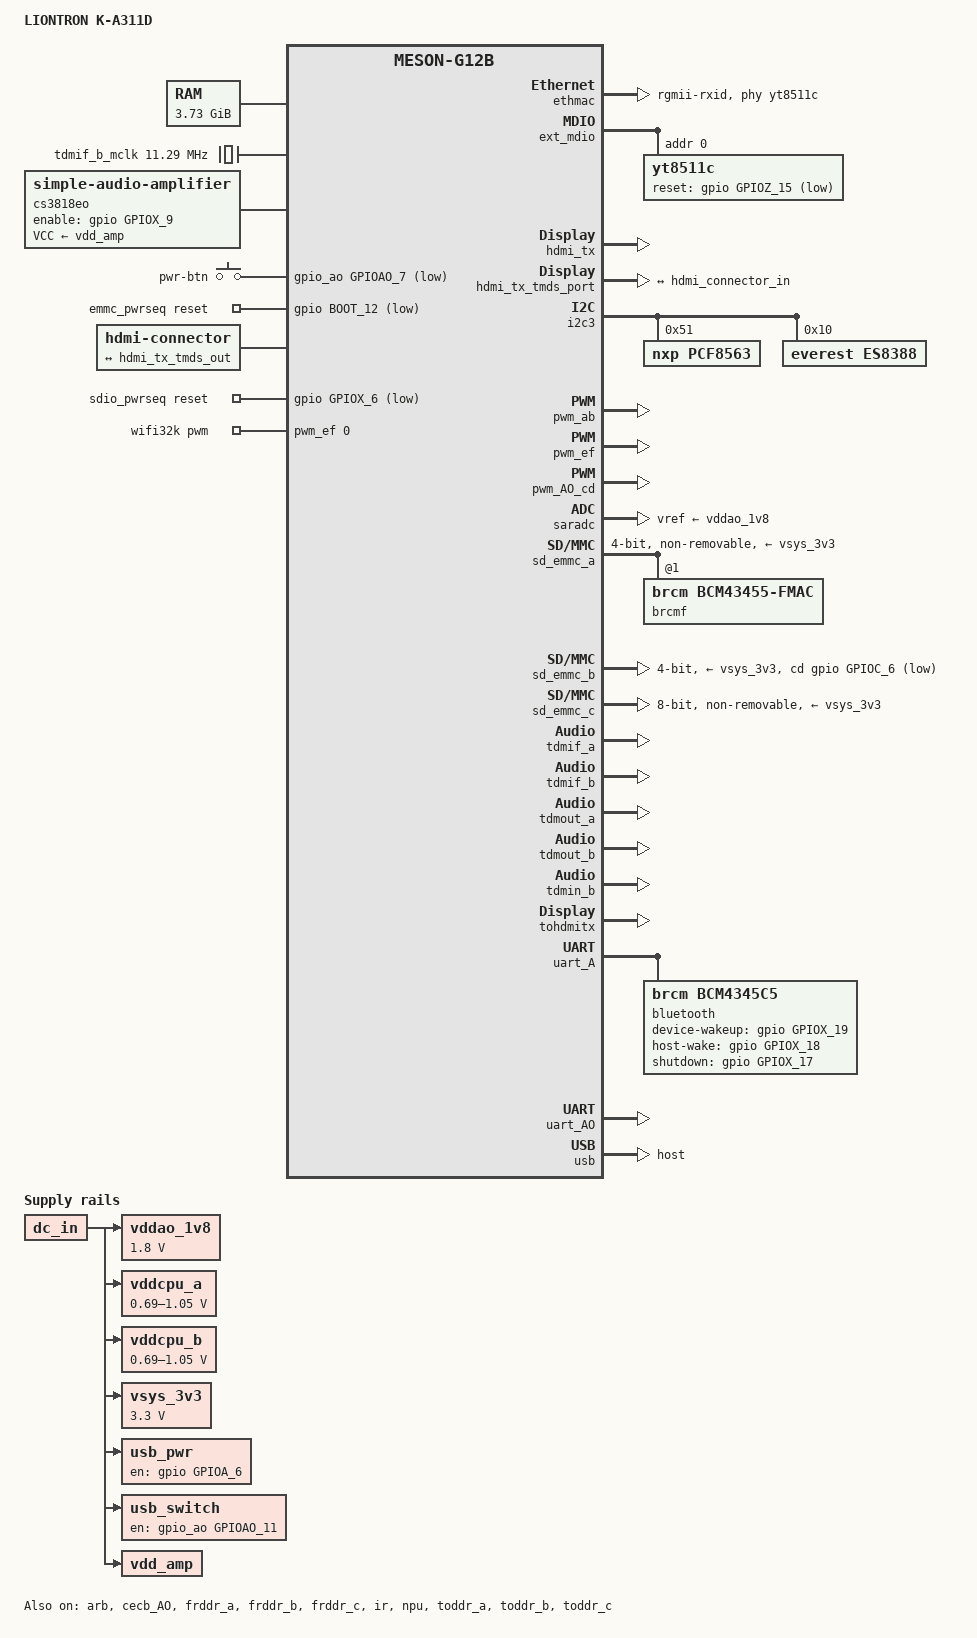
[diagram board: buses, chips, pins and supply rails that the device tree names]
// SPDX-License-Identifier: (GPL-2.0+ OR MIT)
/*
 * Copyright (c) 2019 BayLibre, SAS
 * Author: Neil Armstrong <narmstrong@baylibre.com>
 * Copyright (c) 2019 Christian Hewitt <christianshewitt@gmail.com>
 * Copyright (c) 2025 retro98boy <retro98boy@qq.com>
 */

/dts-v1/;

#include "meson-g12b-a311d.dtsi"
#include <dt-bindings/input/input.h>
#include <dt-bindings/gpio/meson-g12a-gpio.h>
#include <dt-bindings/sound/meson-g12a-tohdmitx.h>

/ {
	compatible = "liontron,k-a311d", "amlogic,a311d", "amlogic,g12b";
	model = "LIONTRON K-A311D";

	aliases {
		serial0 = &uart_AO;
		ethernet0 = &ethmac;
		rtc0 = &pcf8563;
		rtc1 = &vrtc;
	};

	chosen {
		stdout-path = "serial0:115200n8";
	};

	memory@0 {
		device_type = "memory";
		reg = <0x0 0x0 0x0 0xee6b2800>; /* 4GB */
	};

	tdmif_b_mclk: tdmif-b-mclk {
		compatible = "fixed-clock";
		#clock-cells = <0>;
		clock-frequency = <11289600>;
	};

	cs3818eo: amplifier {
		compatible = "simple-audio-amplifier";
		/* The level of the enable pin can be detected through GPIOX_8 */
		enable-gpios = <&gpio GPIOX_9 GPIO_ACTIVE_HIGH>;
		VCC-supply = <&vdd_amp>;
		sound-name-prefix = "Amplifier";
		status = "okay";
	};

	gpio-keys-polled {
		compatible = "gpio-keys-polled";
		poll-interval = <100>;

		pwr-btn {
			label = "pwr-btn";
			linux,code = <KEY_POWER>;
			gpios = <&gpio_ao GPIOAO_7 GPIO_ACTIVE_LOW>;
		};
	};

	emmc_pwrseq: emmc-pwrseq {
		compatible = "mmc-pwrseq-emmc";
		reset-gpios = <&gpio BOOT_12 GPIO_ACTIVE_LOW>;
	};

#if 0
	cvbs-connector {
		compatible = "composite-video-connector";

		port {
			cvbs_connector_in: endpoint {
				remote-endpoint = <&cvbs_vdac_out>;
			};
		};
	};
#endif

	hdmi-connector {
		compatible = "hdmi-connector";
		type = "a";

		port {
			hdmi_connector_in: endpoint {
				remote-endpoint = <&hdmi_tx_tmds_out>;
			};
		};
	};

	sdio_pwrseq: sdio-pwrseq {
		compatible = "mmc-pwrseq-simple";
		reset-gpios = <&gpio GPIOX_6 GPIO_ACTIVE_LOW>; /* tested by voltmeter */
		clocks = <&wifi32k>;
		clock-names = "ext_clock";
	};

	wifi32k: wifi32k {
		compatible = "pwm-clock";
		#clock-cells = <0>;
		clock-frequency = <32768>;
		pwms = <&pwm_ef 0 30518 0>; /* PWM_E at 32.768KHz */
	};

	dc_in: regulator-dc-in {
		compatible = "regulator-fixed";
		regulator-name = "dc_in";
		regulator-always-on;
		regulator-boot-on;
	};

	vddao_1v8: regulator-vddao-1v8 {
		compatible = "regulator-fixed";
		regulator-name = "vddao_1v8";
		regulator-min-microvolt = <1800000>;
		regulator-max-microvolt = <1800000>;
		regulator-always-on;
		regulator-boot-on;
		vin-supply = <&dc_in>;
	};

	vddcpu_a: regulator-vddcpu-a {
		compatible = "pwm-regulator";
		regulator-name = "VDDCPU_A";
		regulator-min-microvolt = <690000>;
		regulator-max-microvolt = <1050000>;
		pwm-supply = <&dc_in>;
		pwms = <&pwm_ab 0 1250 0>;
		pwm-dutycycle-range = <100 0>;
		regulator-boot-on;
		regulator-always-on;
	};

	vddcpu_b: regulator-vddcpu-b {
		compatible = "pwm-regulator";
		regulator-name = "VDDCPU_B";
		regulator-min-microvolt = <690000>;
		regulator-max-microvolt = <1050000>;
		pwm-supply = <&dc_in>;
		pwms = <&pwm_AO_cd 1 1250 0>;
		pwm-dutycycle-range = <100 0>;
		regulator-boot-on;
		regulator-always-on;
	};

	vsys_3v3: regulator-vsys-3v3 {
		compatible = "regulator-fixed";
		regulator-name = "vsys_3v3";
		regulator-min-microvolt = <3300000>;
		regulator-max-microvolt = <3300000>;
		regulator-always-on;
		regulator-boot-on;
		vin-supply = <&dc_in>;
	};

	usb_pwr: regulator-usb-pwr {
		compatible = "regulator-fixed";
		enable-active-high;
		gpio = <&gpio GPIOA_6 GPIO_ACTIVE_HIGH>;
		regulator-name = "usb_pwr";
		regulator-always-on;
		regulator-boot-on;
		vin-supply = <&dc_in>;
	};

	usb_switch: regulator-usb-switch {
		compatible = "regulator-fixed";
		enable-active-high;
		gpio = <&gpio_ao GPIOAO_11 GPIO_ACTIVE_HIGH>;
		regulator-name = "usb_switch";
		regulator-always-on;
		regulator-boot-on;
		vin-supply = <&dc_in>;
	};

	vdd_amp: regulator-vdd-amp {
		compatible = "regulator-fixed";
		regulator-name = "vdd_amp";
		regulator-always-on;
		regulator-boot-on;
		vin-supply = <&dc_in>;
	};

	sound {
		compatible = "amlogic,axg-sound-card";
		model = "liontron-k-a311d";
		audio-widgets = "Headphone", "Headphone Jack",
				"Speaker", "External Speakers",
				"Microphone", "Mic Jack";
		audio-aux-devs = <&tdmout_a>, <&tdmout_b>, <&tdmin_b>, <&cs3818eo>;
		audio-routing =	"TDMOUT_A IN 0", "FRDDR_A OUT 0",
				"TDMOUT_A IN 1", "FRDDR_B OUT 0",
				"TDMOUT_A IN 2", "FRDDR_C OUT 0",
				"TDM_A Playback", "TDMOUT_A OUT",
				"TDMOUT_B IN 0", "FRDDR_A OUT 1",
				"TDMOUT_B IN 1", "FRDDR_B OUT 1",
				"TDMOUT_B IN 2", "FRDDR_C OUT 1",
				"TDM_B Playback", "TDMOUT_B OUT",
				"TDMIN_B IN 1", "TDM_B Capture",
				"TDMIN_B IN 4", "TDM_B Loopback",
				"TODDR_A IN 1", "TDMIN_B OUT",
				"TODDR_B IN 1", "TDMIN_B OUT",
				"TODDR_C IN 1", "TDMIN_B OUT",
				"Headphone Jack", "LOUT1",
				"Headphone Jack", "ROUT1",
				"Amplifier INL", "LOUT2",
				"Amplifier INR", "ROUT2",
				"External Speakers", "Amplifier OUTL",
				"External Speakers", "Amplifier OUTR",
				"LINPUT1", "Mic Jack",
				"RINPUT1", "Mic Jack";

		clocks = <&clkc CLKID_MPLL2>,
			 <&clkc CLKID_MPLL0>,
			 <&clkc CLKID_MPLL1>;

		assigned-clocks = <&clkc CLKID_MPLL2>,
				  <&clkc CLKID_MPLL0>,
				  <&clkc CLKID_MPLL1>;
		assigned-clock-parents = <0>, <0>, <0>;
		assigned-clock-rates = <294912000>,
				       <270950400>,
				       <393216000>;

		dai-link-0 {
			sound-dai = <&frddr_a>;
		};

		dai-link-1 {
			sound-dai = <&frddr_b>;
		};

		dai-link-2 {
			sound-dai = <&frddr_c>;
		};

		dai-link-3 {
			sound-dai = <&toddr_a>;
		};

		dai-link-4 {
			sound-dai = <&toddr_b>;
		};

		dai-link-5 {
			sound-dai = <&toddr_c>;
		};

		/* 8ch hdmi interface */
		dai-link-6 {
			sound-dai = <&tdmif_a>;
			dai-format = "i2s";
			dai-tdm-slot-tx-mask-0 = <1 1>;
			dai-tdm-slot-tx-mask-1 = <1 1>;
			dai-tdm-slot-tx-mask-2 = <1 1>;
			dai-tdm-slot-tx-mask-3 = <1 1>;
			mclk-fs = <256>;

			codec {
				sound-dai = <&tohdmitx TOHDMITX_I2S_IN_A>;
			};
		};

		/* Analog Audio */
		dai-link-7 {
			sound-dai = <&tdmif_b>;
			dai-format = "i2s";
			dai-tdm-slot-tx-mask-0 = <1 1>;
			mclk-fs = <256>;

			codec {
				sound-dai = <&es8388>;
			};
		};

		/* hdmi glue */
		dai-link-8 {
			sound-dai = <&tohdmitx TOHDMITX_I2S_OUT>;

			codec {
				sound-dai = <&hdmi_tx>;
			};
		};
	};
};

&arb {
	status = "okay";
};

&clkc_audio {
	status = "okay";
};

&cecb_AO {
	pinctrl-0 = <&cec_ao_b_h_pins>;
	pinctrl-names = "default";
	status = "okay";
	hdmi-phandle = <&hdmi_tx>;
};

&cpu0 {
	cpu-supply = <&vddcpu_b>;
	operating-points-v2 = <&cpu_opp_table_0>;
	clocks = <&clkc CLKID_CPU_CLK>;
	clock-latency = <50000>;
};

&cpu1 {
	cpu-supply = <&vddcpu_b>;
	operating-points-v2 = <&cpu_opp_table_0>;
	clocks = <&clkc CLKID_CPU_CLK>;
	clock-latency = <50000>;
};

&cpu100 {
	cpu-supply = <&vddcpu_a>;
	operating-points-v2 = <&cpub_opp_table_1>;
	clocks = <&clkc CLKID_CPUB_CLK>;
	clock-latency = <50000>;
};

&cpu101 {
	cpu-supply = <&vddcpu_a>;
	operating-points-v2 = <&cpub_opp_table_1>;
	clocks = <&clkc CLKID_CPUB_CLK>;
	clock-latency = <50000>;
};

&cpu102 {
	cpu-supply = <&vddcpu_a>;
	operating-points-v2 = <&cpub_opp_table_1>;
	clocks = <&clkc CLKID_CPUB_CLK>;
	clock-latency = <50000>;
};

&cpu103 {
	cpu-supply = <&vddcpu_a>;
	operating-points-v2 = <&cpub_opp_table_1>;
	clocks = <&clkc CLKID_CPUB_CLK>;
	clock-latency = <50000>;
};

#if 0
&cvbs_vdac_port {
	cvbs_vdac_out: endpoint {
		remote-endpoint = <&cvbs_connector_in>;
	};
};
#endif

&ethmac {
	pinctrl-0 = <&eth_pins>, <&eth_rgmii_pins>;
	pinctrl-names = "default";
	status = "okay";
	phy-mode = "rgmii-rxid";
	phy-handle = <&yt8511c>;
	amlogic,tx-delay-ns = <2>;
	amlogic,prg-eth-reg0 = <0xffffffff 0x00001629>;
	amlogic,prg-eth-reg1 = <0xffffffff 0x00010000>;
};

&ext_mdio {
	yt8511c: yt8511c@0 {
		reg = <0>;
		max-speed = <1000>;

		reset-assert-us = <10000>;
		reset-deassert-us = <80000>;
		reset-gpios = <&gpio GPIOZ_15 (GPIO_ACTIVE_LOW | GPIO_OPEN_DRAIN)>; /* tested by voltmeter */

		interrupt-parent = <&gpio_intc>;
		/* MAC_INTR on GPIOZ_14 */
		interrupts = <IRQID_GPIOZ_14 IRQ_TYPE_LEVEL_LOW>; /* tested by voltmeter */
	};
};

&frddr_a {
	status = "okay";
};

&frddr_b {
	status = "okay";
};

&frddr_c {
	status = "okay";
};

&hdmi_tx {
	status = "okay";
	pinctrl-0 = <&hdmitx_hpd_pins>, <&hdmitx_ddc_pins>;
	pinctrl-names = "default";
};

&hdmi_tx_tmds_port {
	hdmi_tx_tmds_out: endpoint {
		remote-endpoint = <&hdmi_connector_in>;
	};
};

&i2c3 {
	status = "okay";
	pinctrl-0 = <&i2c3_sda_a_pins>, <&i2c3_sck_a_pins>;
	pinctrl-names = "default";

	pcf8563: rtc@51 {
		compatible = "nxp,pcf8563";
		reg = <0x51>;
		#clock-cells = <0>;
	};

	es8388: codec@10 {
		compatible = "everest,es8388";
		reg = <0x10>;
		clocks = <&tdmif_b_mclk>;
		#sound-dai-cells = <0>;
	};
};

&ir {
	status = "okay";
	pinctrl-0 = <&remote_input_ao_pins>;
	pinctrl-names = "default";
};

&npu {
	status = "okay";
};

&pwm_ab {
	status = "okay";
	pinctrl-0 = <&pwm_a_e_pins>;
	pinctrl-names = "default";
	clocks = <&xtal>;
	clock-names = "clkin0";
};

&pwm_ef {
	status = "okay";
	pinctrl-0 = <&pwm_e_pins>;
	pinctrl-names = "default";
};

&pwm_AO_cd {
	pinctrl-0 = <&pwm_ao_d_e_pins>;
	pinctrl-names = "default";
	clocks = <&xtal>;
	clock-names = "clkin1";
	status = "okay";
};

&saradc {
	status = "okay";
	vref-supply = <&vddao_1v8>;
};

&sd_emmc_a {
	status = "okay";
	pinctrl-0 = <&sdio_pins>;
	pinctrl-1 = <&sdio_clk_gate_pins>;
	pinctrl-names = "default", "clk-gate";
	#address-cells = <1>;
	#size-cells = <0>;

	bus-width = <4>;
	cap-sd-highspeed;
	sd-uhs-sdr50;
	max-frequency = <100000000>;
	non-removable;
	disable-wp;
	cap-sdio-irq;

	/* WiFi firmware requires power in suspend */
	keep-power-in-suspend;
	mmc-pwrseq = <&sdio_pwrseq>;
	vmmc-supply = <&vsys_3v3>;
	vqmmc-supply = <&vddao_1v8>;

	brcmf: wifi@1 {
		compatible = "brcm,bcm43455-fmac";
		reg = <1>;
		interrupt-parent = <&gpio_intc>;
		interrupts = <IRQID_GPIOX_7 IRQ_TYPE_LEVEL_HIGH>; /* tested by voltmeter */
		interrupt-names = "host-wake";
	};
};

/* SD card */
&sd_emmc_b {
	status = "okay";
	pinctrl-0 = <&sdcard_c_pins>;
	pinctrl-1 = <&sdcard_clk_gate_c_pins>;
	pinctrl-names = "default", "clk-gate";

	bus-width = <4>;
	cap-sd-highspeed;
	max-frequency = <50000000>;
	disable-wp;

	cd-gpios = <&gpio GPIOC_6 GPIO_ACTIVE_LOW>;
	vmmc-supply = <&vsys_3v3>;
	vqmmc-supply = <&vsys_3v3>;
};

&sd_emmc_c {
	status = "okay";
	pinctrl-0 = <&emmc_ctrl_pins>, <&emmc_data_8b_pins>, <&emmc_ds_pins>;
	pinctrl-1 = <&emmc_clk_gate_pins>;
	pinctrl-names = "default", "clk-gate";

	max-frequency = <200000000>;
	bus-width = <8>;
	cap-mmc-highspeed;
	mmc-ddr-1_8v;
	mmc-hs200-1_8v;
	non-removable;

	mmc-pwrseq = <&emmc_pwrseq>;
	vmmc-supply = <&vsys_3v3>;
	vqmmc-supply = <&vddao_1v8>;
};

&tdmif_a {
	status = "okay";
};

&tdmif_b {
	pinctrl-0 = <&mclk0_a_pins>, <&tdm_b_fs_pins>, <&tdm_b_sclk_pins>,
		    <&tdm_b_dout0_pins>;
	pinctrl-names = "default";
	status = "okay";

	assigned-clocks = <&clkc_audio AUD_CLKID_TDM_MCLK_PAD0>,
			  <&clkc_audio AUD_CLKID_TDM_SCLK_PAD1>,
			  <&clkc_audio AUD_CLKID_TDM_LRCLK_PAD1>;
	assigned-clock-parents = <&clkc_audio AUD_CLKID_MST_B_MCLK>,
				 <&clkc_audio AUD_CLKID_MST_B_SCLK>,
				 <&clkc_audio AUD_CLKID_MST_B_LRCLK>;
	assigned-clock-rates = <0>, <0>, <0>;
};

&tdmout_a {
	status = "okay";
};

&tdmout_b {
	status = "okay";
};

&tdmin_b {
	status = "okay";
};

&toddr_a {
	status = "okay";
};

&toddr_b {
	status = "okay";
};

&toddr_c {
	status = "okay";
};

&tohdmitx {
	status = "okay";
};

&uart_A {
	status = "okay";
	pinctrl-0 = <&uart_a_pins>, <&uart_a_cts_rts_pins>;
	pinctrl-names = "default";
	uart-has-rtscts;

	bluetooth {
		compatible = "brcm,bcm4345c5";
		clocks = <&wifi32k>;
		clock-names = "lpo";
		device-wakeup-gpios = <&gpio GPIOX_19 GPIO_ACTIVE_HIGH>; /* tested by voltmeter */
		host-wake-gpios = <&gpio GPIOX_18 GPIO_ACTIVE_HIGH>; /* tested by voltmeter */
		shutdown-gpios = <&gpio GPIOX_17 GPIO_ACTIVE_HIGH>; /* tested by voltmeter */
	};
};

&uart_AO {
	status = "okay";
	pinctrl-0 = <&uart_ao_a_pins>;
	pinctrl-names = "default";
};

&usb2_phy0 {
	phy-supply = <&usb_pwr>;
};

&usb2_phy1 {
	phy-supply = <&usb_switch>;
};

&usb3_pcie_phy {
	phy-supply = <&usb_pwr>;
};

&usb {
	status = "okay";
	dr_mode = "host";
};
